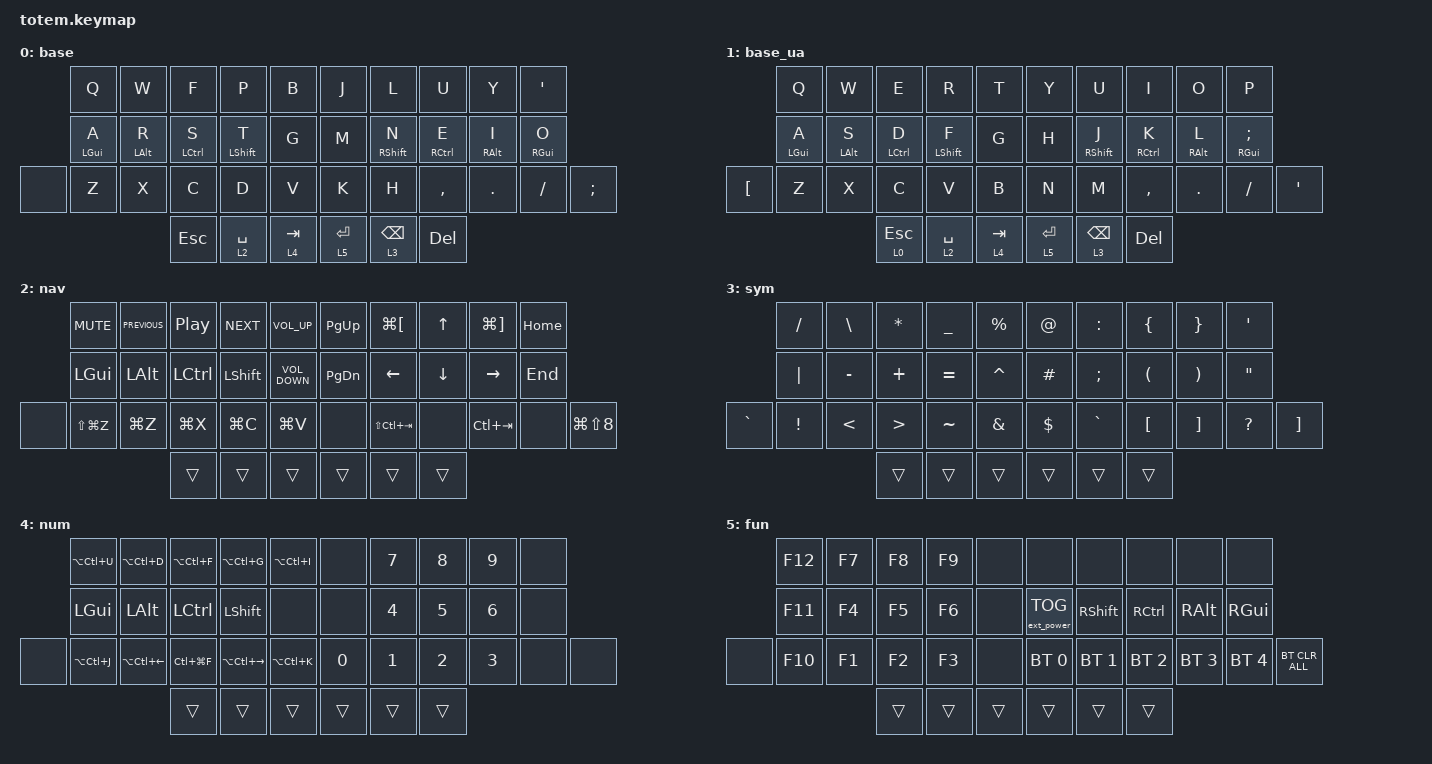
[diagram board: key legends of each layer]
//
//                                                        ▀▀▀▀▀     ▀▀▀▀▀          ▀▀█▀▀
//                                                        ▄▀▀▀▄  ▄  ▄▀▀▀▄  ▄  ▄▀▀▀▄  █  ▄▀▀▀▄
//                                                        █   █  █  █   █  █  █   █  █  █   █
//                                                         ▀▀▀   █   ▀▀▀   █   ▀▀▀   ▀   ▀▀▀
//                                                               █      ▄▄▄█▄▄▄    █   █  
//                                                               ▀      █  █  █     █▄█
//                                                             ▀▀▀▀▀    █  █  █      ▀
//                                                                      ▀  ▀  ▀
//
// ▄▄▄▄▄▄▄▄▄▄▄▄▄▄▄▄▄▄▄▄▄▄▄▄▄▄▄▄▄▄▄▄▄▄▄▄▄▄▄▄▄▄▄▄▄▄▄▄▄▄▄▄▄▄▄▄▄▄▄▄▄▄▄▄▄▄▄▄▄▄▄▄▄▄▄▄▄▄▄▄▄▄▄▄▄▄▄▄▄▄▄▄▄▄▄▄▄▄▄▄▄▄▄▄▄▄▄▄▄▄▄▄▄▄▄▄▄▄▄▄▄▄▄▄▄▄▄▄▄▄▄▄▄▄▄▄▄▄▄▄▄▄▄▄▄▄▄▄▄

#include <behaviors.dtsi>
#include <dt-bindings/zmk/bt.h>
#include <dt-bindings/zmk/ext_power.h>
#include <dt-bindings/zmk/keys.h>

#define BASE 0
#define NAV  1
#define SYM  2
#define ADJ  3
#define TVP1 4
#define TVP2 5

&mt {
    quick-tap-ms = <100>;
    global-quick-tap;
    flavor = "balanced";
    tapping-term-ms = <170>;
};

/ {
    combos {
        compatible = "zmk,combos";

        to_qwerty {
            bindings = <&to 1>;
            key-positions = <20 31>;
            layers = <0>;
        };

        to_colemak_dh {
            bindings = <&to 0>;
            key-positions = <20 31>;
            layers = <1>;
        };
    };

    keymap {
        compatible = "zmk,keymap";

        // ▄▄▄▄▄▄▄▄▄▄▄▄▄▄▄▄▄▄▄▄▄▄▄▄▄▄▄▄▄▄▄▄▄▄▄▄▄▄▄▄▄▄▄▄▄▄▄▄▄▄▄▄▄▄▄▄▄▄▄▄▄▄▄▄▄▄▄▄▄▄▄▄▄▄▄▄▄▄▄▄▄▄▄▄▄▄▄▄▄▄▄▄▄▄▄▄▄▄▄▄▄▄▄▄▄▄▄▄▄▄▄▄▄▄▄▄▄▄▄▄▄▄▄▄▄▄▄▄▄▄▄▄▄▄▄▄▄▄▄▄▄▄▄▄▄▄▄▄▄

        COLEMAK_DH {
            // ┏━━━━━━━━━━━━━━━━━━━━━━━━━━━━━━━━━━━━━━━┓

            label = "base";

            // ┗━━━━━━━━━━━━━━━━━━━━━━━━━━━━━━━━━━━━━━━┛
            //             ┏━━━━━━━━━━━┳━━━━━━━━━━━┳━━━━━━━━━━━┳━━━━━━━━━━━┳━━━━━━━━━━━┓   ┏━━━━━━━━━━━┳━━━━━━━━━━━┳━━━━━━━━━━━┳━━━━━━━━━━━┳━━━━━━━━━━━┓
            //             ┃     Q     ┃     W     ┃     F     ┃     P     ┃     G     ┃   ┃     J     ┃     L     ┃     U     ┃     Y     ┃     ;     ┃
            //             ┣━━━━━━━━━━━╋━━━━━━━━━━━╋━━━━━━━━━━━╋━━━━━━━━━━━╋━━━━━━━━━━━┫   ┣━━━━━━━━━━━╋━━━━━━━━━━━╋━━━━━━━━━━━╋━━━━━━━━━━━╋━━━━━━━━━━━┫
            //             ┃     A     ┃     R     ┃     S     ┃     T     ┃     D     ┃   ┃     H     ┃     N     ┃     E     ┃     I     ┃     O     ┃
            // ┏━━━━━━━━━━━╋━━━━━━━━━━━╋━━━━━━━━━━━╋━━━━━━━━━━━╋━━━━━━━━━━━╋━━━━━━━━━━━┫   ┣━━━━━━━━━━━╋━━━━━━━━━━━╋━━━━━━━━━━━╋━━━━━━━━━━━╋━━━━━━━━━━━╋━━━━━━━━━━━┓
            // ┃     Q     ┃     Z     ┃     X     ┃     C     ┃     V     ┃     B     ┃   ┃     K     ┃     M     ┃     ,     ┃     .     ┃     /     ┃     \     ┃
            // ┗━━━━━━━━━━━┻━━━━━━━━━━━┻━━━━━━━━━━━╋━━━━━━━━━━━╋━━━━━━━━━━━╋━━━━━━━━━━━┫   ┣━━━━━━━━━━━╋━━━━━━━━━━━╋━━━━━━━━━━━╋━━━━━━━━━━━┻━━━━━━━━━━━┻━━━━━━━━━━━┛
            //                                     ┃    DEL    ┃    TAB    ┃    SPC    ┃   ┃   ENTER   ┃           ┃   BSPC    ┃
            //                                     ┗━━━━━━━━━━━┻━━━━━━━━━━━┻━━━━━━━━━━━┛   ┗━━━━━━━━━━━┻━━━━━━━━━━━┻━━━━━━━━━━━┛

            bindings = <
       &kp Q           &kp W           &kp F               &kp P             &kp B        &kp J        &kp L            &kp U                &kp Y            &kp APOSTROPHE
       &mt LEFT_GUI A  &mt LEFT_ALT R  &mt LEFT_CONTROL S  &mt LEFT_SHIFT T  &kp G        &kp M        &mt RSHIFT N     &mt RIGHT_CONTROL E  &mt RIGHT_ALT I  &mt RIGHT_GUI O
&none  &kp Z           &kp X           &kp C               &kp D             &kp V        &kp K        &kp H            &kp COMMA            &kp DOT          &kp SLASH        &kp SEMICOLON
                                       &kp ESCAPE          &lt 2 SPACE       &lt 4 TAB    &lt 5 ENTER  &lt 3 BACKSPACE  &kp DELETE
            >;
        };

        QWERTY {
            label = "base_ua";
            bindings = <
                  &kp Q           &kp W           &kp E               &kp R             &kp T        &kp Y        &kp U              &kp I                &kp O            &kp P
                  &mt LEFT_GUI A  &mt LEFT_ALT S  &mt LEFT_CONTROL D  &mt LEFT_SHIFT F  &kp G        &kp H        &mt RIGHT_SHIFT J  &mt RIGHT_CONTROL K  &mt RIGHT_ALT L  &mt RIGHT_GUI SEMICOLON
&kp LEFT_BRACKET  &kp Z           &kp X           &kp C               &kp V             &kp B        &kp N        &kp M              &kp COMMA            &kp DOT          &kp FSLH                 &kp SINGLE_QUOTE
                                                  &lt 0 ESCAPE        &lt 2 SPACE       &lt 4 TAB    &lt 5 ENTER  &lt 3 BACKSPACE    &kp DELETE
            >;
        };

        NAV {
            bindings = <
       &kp C_MUTE     &kp C_PREVIOUS  &kp C_PLAY_PAUSE  &kp C_NEXT      &kp C_VOLUME_UP      &kp PAGE_UP    &kp LG(LEFT_BRACKET)  &kp UP_ARROW  &kp LG(RIGHT_BRACKET)  &kp HOME
       &kp LEFT_GUI   &kp LEFT_ALT    &kp LEFT_CONTROL  &kp LEFT_SHIFT  &kp C_VOLUME_DOWN    &kp PAGE_DOWN  &kp LEFT_ARROW        &kp DOWN      &kp RIGHT_ARROW        &kp END
&none  &kp LS(LG(Z))  &kp LG(Z)       &kp LG(X)         &kp LG(C)       &kp LG(V)            &none          &kp LS(LC(TAB))       &none         &kp LC(TAB)            &none     &kp LG(LS(NUMBER_8))
                                      &trans            &trans          &trans               &trans         &trans                &trans
            >;

            label = "nav";
        };

        SYM {
            bindings = <
           &kp SLASH        &kp BACKSLASH  &kp ASTERISK      &kp UNDER  &kp PERCENT      &kp AT_SIGN  &kp COLON      &kp LEFT_BRACE        &kp RIGHT_BRACE        &kp SINGLE_QUOTE
           &kp PIPE         &kp MINUS      &kp PLUS          &kp EQUAL  &kp CARET        &kp HASH     &kp SEMICOLON  &kp LEFT_PARENTHESIS  &kp RIGHT_PARENTHESIS  &kp DOUBLE_QUOTES
&kp GRAVE  &kp EXCLAMATION  &kp LESS_THAN  &kp GREATER_THAN  &kp TILDE  &kp AMPERSAND    &kp DOLLAR   &kp GRAVE      &kp LEFT_BRACKET      &kp RIGHT_BRACKET      &kp QUESTION       &kp RIGHT_BRACKET
                                           &trans            &trans     &trans           &trans       &trans         &trans
            >;

            label = "sym";
        };

        NUM {
            bindings = <
       &kp LA(LC(U))  &kp LA(LC(D))     &kp LA(LC(F))     &kp LA(LC(G))            &kp LA(LC(I))    &none   &kp N7  &kp N8  &kp N9  &none
       &kp LEFT_GUI   &kp LEFT_ALT      &kp LEFT_CONTROL  &kp LEFT_SHIFT           &none            &none   &kp N4  &kp N5  &kp N6  &none
&none  &kp LA(LC(J))  &kp LA(LC(LEFT))  &kp LC(LG(F))     &kp LA(LC(RIGHT_ARROW))  &kp LA(LC(K))    &kp N0  &kp N1  &kp N2  &kp N3  &none  &none
                                        &trans            &trans                   &trans           &trans  &trans  &trans
            >;

            label = "num";
        };

        FUN {
            bindings = <
       &kp F12  &kp F7  &kp F8  &kp F9  &none     &none              &none            &none              &none          &none
       &kp F11  &kp F4  &kp F5  &kp F6  &none     &ext_power EP_TOG  &kp RIGHT_SHIFT  &kp RIGHT_CONTROL  &kp RIGHT_ALT  &kp RIGHT_GUI
&none  &kp F10  &kp F1  &kp F2  &kp F3  &none     &bt BT_SEL 0       &bt BT_SEL 1     &bt BT_SEL 2       &bt BT_SEL 3   &bt BT_SEL 4   &bt BT_CLR_ALL
                        &trans  &trans  &trans    &trans             &trans           &trans
            >;

            label = "fun";
        };
    };
};
